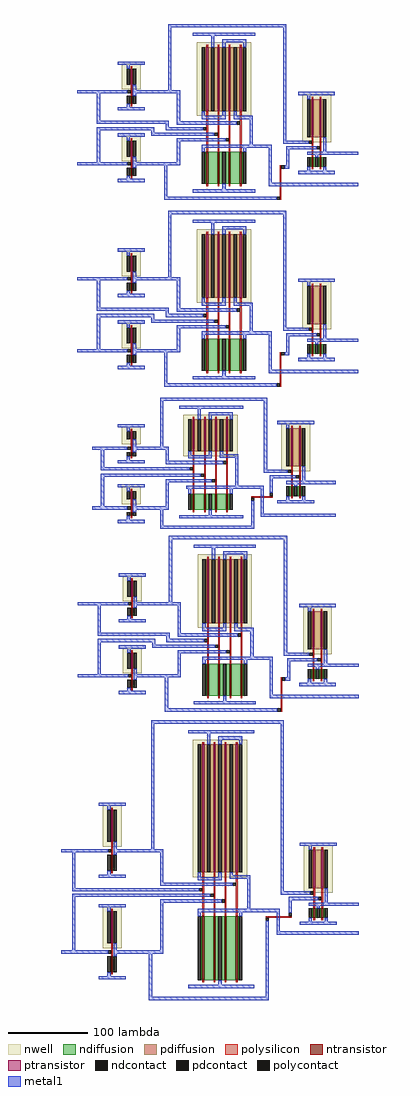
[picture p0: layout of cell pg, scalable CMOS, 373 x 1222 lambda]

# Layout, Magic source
magic
tech scmos
use pgchain1  pgchain1_0
transform 1 0 138 0 1 9
box -138 -9 214 211
use pgchain1  pgchain1_1
transform 1 0 138 0 1 -225
box -138 -9 214 211
use pgchain2  pgchain2_0
transform 1 0 125 0 1 -399
box -106 -13 199 151
use pgchain1  pgchain1_2
transform 1 0 139 0 1 -632
box -138 -9 214 211
use pgchain3  pgchain3_0
transform 1 0 129 0 1 -987
box -149 -15 224 335
<< end >>

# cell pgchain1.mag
magic
tech scmos
<< polysilicon >>
rect 116 -9 118 34
<< polycontact >>
rect 112 -9 116 -5
rect 118 30 122 34
<< metal1 >>
rect -24 207 124 211
rect -24 128 -20 207
rect -138 124 -87 128
rect -53 124 -9 128
rect -113 90 -109 124
rect -113 86 -23 90
rect -27 82 -23 86
rect -13 89 -9 124
rect -13 85 0 89
rect -113 78 -41 82
rect -27 78 0 82
rect -113 38 -109 78
rect -45 75 -41 78
rect -45 71 0 75
rect -13 64 0 68
rect 120 65 124 207
rect -13 38 -9 64
rect 120 61 138 65
rect 85 56 106 60
rect -138 34 -87 38
rect -53 34 -9 38
rect -29 -5 -25 34
rect 102 12 106 56
rect 124 54 138 58
rect 124 34 128 54
rect 183 47 214 51
rect 122 30 128 34
rect 102 8 214 12
rect -29 -9 112 -5
use inv_W  inv_W_0
transform 1 0 -72 0 1 133
box -15 -30 19 31
use inv_W  inv_W_1
transform 1 0 -72 0 1 43
box -15 -30 19 31
use xor_2W  xor_2W_0
transform 1 0 34 0 1 111
box -34 -111 51 89
use and  and_0
transform 1 0 169 0 1 71
box -31 -48 16 55
<< end >>

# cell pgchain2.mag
magic
tech scmos
<< polysilicon >>
rect 93 26 120 28
<< polycontact >>
rect 116 28 120 32
rect 93 22 97 26
<< metal1 >>
rect -21 147 113 151
rect -21 90 -17 147
rect -106 86 -74 90
rect -40 86 -10 90
rect -95 64 -91 86
rect -14 72 -10 86
rect -14 68 0 72
rect -95 60 0 64
rect 109 61 113 147
rect 109 57 125 61
rect -95 52 0 56
rect -95 15 -91 52
rect 116 50 125 54
rect -14 45 0 49
rect -14 15 -10 45
rect 82 37 109 41
rect -106 11 -74 15
rect -40 11 -10 15
rect -21 -9 -17 11
rect 93 -9 97 22
rect 105 6 109 37
rect 116 32 120 50
rect 170 43 199 47
rect 105 2 199 6
rect -21 -13 97 -9
use inv_W_2  inv_W_2_0
transform 1 0 -57 0 1 108
box -17 -39 17 10
use inv_W_2  inv_W_2_1
transform 1 0 -57 0 1 33
box -17 -39 17 10
use xor_W  xor_W_0
transform 1 0 27 0 1 89
box -27 -89 56 52
use and  and_0
transform 1 0 156 0 1 67
box -31 -48 16 55
<< end >>

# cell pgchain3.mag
magic
tech scmos
<< polysilicon >>
rect 107 88 140 90
<< polycontact >>
rect 136 90 140 94
rect 107 84 111 88
<< metal1 >>
rect -36 331 130 335
rect -36 174 -32 331
rect -149 170 -102 174
rect -68 170 -21 174
rect -135 125 -131 170
rect -25 132 -21 170
rect -25 128 0 132
rect -135 121 0 125
rect 126 121 130 331
rect -135 114 0 118
rect 126 117 149 121
rect -135 47 -131 114
rect -25 107 0 111
rect 136 110 149 114
rect -25 47 -21 107
rect 93 95 125 99
rect -149 43 -102 47
rect -68 43 -21 47
rect -39 -11 -35 43
rect 107 -11 111 84
rect 121 71 125 95
rect 136 94 140 110
rect 194 103 224 107
rect 121 67 224 71
rect -39 -15 111 -11
use inv_2W  inv_2W_0
transform 1 0 -81 0 1 183
box -21 -45 13 49
use inv_2W  inv_2W_1
transform 1 0 -81 0 1 56
box -21 -45 13 49
use xor_4W  xor_4W_0
transform 1 0 37 0 1 151
box -37 -151 56 172
use and  and_0
transform 1 0 180 0 1 127
box -31 -48 16 55
<< end >>

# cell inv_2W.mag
magic
tech scmos
<< nwell >>
rect -16 -6 8 46
<< ntransistor >>
rect -5 -36 -3 -16
<< ptransistor >>
rect -5 0 -3 40
<< ndiffusion >>
rect -6 -36 -5 -16
rect -3 -36 -2 -16
<< pdiffusion >>
rect -6 0 -5 40
rect -3 0 -2 40
<< ndcontact >>
rect -10 -36 -6 -16
rect -2 -36 2 -16
<< pdcontact >>
rect -10 0 -6 40
rect -2 0 2 40
<< polysilicon >>
rect -5 40 -3 43
rect -5 -16 -3 0
rect -5 -39 -3 -36
<< polycontact >>
rect -9 -13 -5 -9
<< metal1 >>
rect -21 45 13 49
rect -10 40 -6 45
rect -2 -9 2 0
rect -21 -13 -9 -9
rect -2 -13 13 -9
rect -2 -16 2 -13
rect -10 -41 -6 -36
rect -21 -45 13 -41
<< labels >>
rlabel metal1 -21 45 13 49 5 vdd
rlabel metal1 -21 -45 13 -41 1 gnd
rlabel metal1 -21 -13 -9 -9 1 input
rlabel metal1 -2 -13 13 -9 1 output
<< end >>

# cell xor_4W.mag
magic
tech scmos
<< nwell >>
rect -21 -12 47 160
<< ntransistor >>
rect -9 -141 -7 -61
rect 5 -141 7 -61
rect 19 -141 21 -61
rect 33 -141 35 -61
<< ptransistor >>
rect -9 -6 -7 154
rect 5 -6 7 154
rect 19 -6 21 154
rect 33 -6 35 154
<< ndiffusion >>
rect -11 -141 -9 -61
rect -7 -141 5 -61
rect 7 -141 11 -61
rect 15 -141 19 -61
rect 21 -141 33 -61
rect 35 -141 37 -61
<< pdiffusion >>
rect -11 -6 -9 154
rect -7 -6 -3 154
rect 1 -6 5 154
rect 7 -6 11 154
rect 15 -6 19 154
rect 21 -6 25 154
rect 29 -6 33 154
rect 35 -6 37 154
<< ndcontact >>
rect -15 -141 -11 -61
rect 11 -141 15 -61
rect 37 -141 41 -61
<< pdcontact >>
rect -15 -6 -11 154
rect -3 -6 1 154
rect 11 -6 15 154
rect 25 -6 29 154
rect 37 -6 41 154
<< polysilicon >>
rect -9 154 -7 157
rect 5 154 7 157
rect 19 154 21 157
rect 33 154 35 157
rect -9 -61 -7 -6
rect 5 -61 7 -6
rect 19 -61 21 -6
rect 33 -61 35 -6
rect -9 -144 -7 -141
rect 5 -144 7 -141
rect 19 -144 21 -141
rect 33 -144 35 -141
<< polycontact >>
rect -13 -30 -9 -26
rect 1 -37 5 -33
rect 15 -44 19 -40
rect 29 -23 33 -19
<< metal1 >>
rect -27 168 56 172
rect -3 154 1 168
rect 11 160 41 164
rect 11 154 15 160
rect 37 154 41 160
rect -15 -12 -11 -6
rect 11 -12 15 -6
rect -15 -16 15 -12
rect 25 -10 29 -6
rect 25 -14 51 -10
rect -37 -23 29 -19
rect -37 -30 -13 -26
rect -37 -37 1 -33
rect -37 -44 15 -40
rect 47 -52 51 -14
rect -15 -56 56 -52
rect -15 -61 -11 -56
rect 37 -61 41 -56
rect 11 -147 15 -141
rect -27 -151 56 -147
<< labels >>
rlabel metal1 -27 168 56 172 5 vdd
rlabel metal1 -27 -151 56 -147 1 gnd
rlabel metal1 -15 -56 56 -52 1 out
rlabel metal1 -37 -23 33 -19 1 in_a_bar
rlabel metal1 -37 -30 -9 -26 1 in_a
rlabel metal1 -37 -37 5 -33 1 in_b
rlabel metal1 -37 -44 19 -40 1 in_b_bar
<< end >>

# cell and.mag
magic
tech scmos
<< nwell >>
rect -25 -8 11 52
<< ntransistor >>
rect -13 -39 -11 -27
rect -3 -39 -1 -27
<< ptransistor >>
rect -13 -2 -11 46
rect -3 -2 -1 46
<< ndiffusion >>
rect -15 -39 -13 -27
rect -11 -39 -9 -27
rect -5 -39 -3 -27
rect -1 -39 1 -27
<< pdiffusion >>
rect -15 -2 -13 46
rect -11 -2 -3 46
rect -1 -2 1 46
<< ndcontact >>
rect -19 -39 -15 -27
rect -9 -39 -5 -27
rect 1 -39 5 -27
<< pdcontact >>
rect -19 -2 -15 46
rect 1 -2 5 46
<< polysilicon >>
rect -13 46 -11 49
rect -3 46 -1 49
rect -13 -27 -11 -2
rect -3 -27 -1 -2
rect -13 -42 -11 -39
rect -3 -42 -1 -39
<< polycontact >>
rect -17 -10 -13 -6
rect -7 -17 -3 -13
<< metal1 >>
rect -30 51 16 55
rect -19 46 -15 51
rect -31 -10 -17 -6
rect -31 -17 -7 -13
rect 1 -20 5 -2
rect -19 -24 14 -20
rect -9 -27 -5 -24
rect -19 -44 -15 -39
rect 1 -44 5 -39
rect -30 -48 16 -44
<< labels >>
rlabel metal1 -31 -10 -17 -6 1 in1
rlabel metal1 -31 -17 -7 -13 1 in2
rlabel metal1 -19 -24 14 -20 1 out
rlabel metal1 -30 51 16 55 5 vdd
rlabel metal1 -30 -48 16 -44 1 gnd
<< end >>

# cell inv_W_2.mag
magic
tech scmos
<< nwell >>
rect -12 -15 12 7
<< ntransistor >>
rect -1 -30 1 -25
<< ptransistor >>
rect -1 -9 1 1
<< ndiffusion >>
rect -2 -30 -1 -25
rect 1 -30 2 -25
<< pdiffusion >>
rect -2 -9 -1 1
rect 1 -9 2 1
<< ndcontact >>
rect -6 -30 -2 -25
rect 2 -30 6 -25
<< pdcontact >>
rect -6 -9 -2 1
rect 2 -9 6 1
<< polysilicon >>
rect -1 1 1 4
rect -1 -25 1 -9
rect -1 -33 1 -30
<< polycontact >>
rect -5 -22 -1 -18
<< metal1 >>
rect -17 6 17 10
rect -6 1 -2 6
rect 2 -18 6 -9
rect -17 -22 -5 -18
rect 2 -22 17 -18
rect 2 -25 6 -22
rect -6 -35 -2 -30
rect -17 -39 17 -35
<< labels >>
rlabel metal1 -17 6 17 10 5 vdd
rlabel metal1 -17 -39 17 -35 1 gnd
rlabel metal1 -17 -22 -5 -18 1 input
rlabel metal1 2 -22 17 -18 1 output
<< end >>

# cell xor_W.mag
magic
tech scmos
<< nwell >>
rect -19 -11 49 41
<< ntransistor >>
rect -7 -78 -5 -58
rect 7 -78 9 -58
rect 21 -78 23 -58
rect 35 -78 37 -58
<< ptransistor >>
rect -7 -5 -5 35
rect 7 -5 9 35
rect 21 -5 23 35
rect 35 -5 37 35
<< ndiffusion >>
rect -9 -78 -7 -58
rect -5 -78 7 -58
rect 9 -78 13 -58
rect 17 -78 21 -58
rect 23 -78 35 -58
rect 37 -78 39 -58
<< pdiffusion >>
rect -9 -5 -7 35
rect -5 -5 -1 35
rect 3 -5 7 35
rect 9 -5 13 35
rect 17 -5 21 35
rect 23 -5 27 35
rect 31 -5 35 35
rect 37 -5 39 35
<< ndcontact >>
rect -13 -78 -9 -58
rect 13 -78 17 -58
rect 39 -78 43 -58
<< pdcontact >>
rect -13 -5 -9 35
rect -1 -5 3 35
rect 13 -5 17 35
rect 27 -5 31 35
rect 39 -5 43 35
<< polysilicon >>
rect -7 35 -5 38
rect 7 35 9 38
rect 21 35 23 38
rect 35 35 37 38
rect -7 -58 -5 -5
rect 7 -58 9 -5
rect 21 -58 23 -5
rect 35 -58 37 -5
rect -7 -81 -5 -78
rect 7 -81 9 -78
rect 21 -81 23 -78
rect 35 -81 37 -78
<< polycontact >>
rect -11 -29 -7 -25
rect 3 -37 7 -33
rect 17 -44 21 -40
rect 31 -21 35 -17
<< metal1 >>
rect -24 48 56 52
rect -1 35 3 48
rect 13 40 43 44
rect 13 35 17 40
rect 39 35 43 40
rect -13 -10 -9 -5
rect 13 -10 17 -5
rect -13 -14 17 -10
rect 27 -9 31 -5
rect 27 -13 50 -9
rect -27 -21 31 -17
rect -27 -29 -11 -25
rect -27 -37 3 -33
rect -27 -44 17 -40
rect 46 -48 50 -13
rect -15 -52 55 -48
rect -13 -58 -9 -52
rect 39 -58 43 -52
rect 13 -85 17 -78
rect -24 -89 56 -85
<< labels >>
rlabel metal1 -24 48 56 52 5 vdd
rlabel metal1 -24 -89 56 -85 1 gnd
rlabel metal1 -15 -52 55 -48 1 out
rlabel metal1 -27 -21 31 -17 1 in_a_bar
rlabel metal1 -27 -29 -11 -25 1 in_a
rlabel metal1 -27 -37 3 -33 1 in_b
rlabel metal1 -27 -44 17 -40 1 in_b_bar
<< end >>

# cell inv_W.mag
magic
tech scmos
<< nwell >>
rect -10 -4 14 28
<< ntransistor >>
rect 1 -22 3 -12
<< ptransistor >>
rect 1 2 3 22
<< ndiffusion >>
rect 0 -22 1 -12
rect 3 -22 4 -12
<< pdiffusion >>
rect 0 2 1 22
rect 3 2 4 22
<< ndcontact >>
rect -4 -22 0 -12
rect 4 -22 8 -12
<< pdcontact >>
rect -4 2 0 22
rect 4 2 8 22
<< polysilicon >>
rect 1 22 3 25
rect 1 -12 3 2
rect 1 -25 3 -22
<< polycontact >>
rect -3 -9 1 -5
<< metal1 >>
rect -15 27 19 31
rect -4 22 0 27
rect 4 -5 8 2
rect -15 -9 -3 -5
rect 4 -9 19 -5
rect 4 -12 8 -9
rect -4 -26 0 -22
rect -15 -30 19 -26
<< labels >>
rlabel metal1 -15 27 19 31 5 vdd
rlabel metal1 -15 -30 19 -26 1 gnd
rlabel metal1 -15 -9 -3 -5 1 input
rlabel metal1 4 -9 19 -5 1 output
<< end >>

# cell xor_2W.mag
magic
tech scmos
<< nwell >>
rect -22 -15 46 77
<< ntransistor >>
rect -10 -100 -8 -60
rect 4 -100 6 -60
rect 18 -100 20 -60
rect 32 -100 34 -60
<< ptransistor >>
rect -10 -9 -8 71
rect 4 -9 6 71
rect 18 -9 20 71
rect 32 -9 34 71
<< ndiffusion >>
rect -12 -100 -10 -60
rect -8 -100 4 -60
rect 6 -100 10 -60
rect 14 -100 18 -60
rect 20 -100 32 -60
rect 34 -100 36 -60
<< pdiffusion >>
rect -12 -9 -10 71
rect -8 -9 -4 71
rect 0 -9 4 71
rect 6 -9 10 71
rect 14 -9 18 71
rect 20 -9 24 71
rect 28 -9 32 71
rect 34 -9 36 71
<< ndcontact >>
rect -16 -100 -12 -60
rect 10 -100 14 -60
rect 36 -100 40 -60
<< pdcontact >>
rect -16 -9 -12 71
rect -4 -9 0 71
rect 10 -9 14 71
rect 24 -9 28 71
rect 36 -9 40 71
<< polysilicon >>
rect -10 71 -8 74
rect 4 71 6 74
rect 18 71 20 74
rect 32 71 34 74
rect -10 -60 -8 -9
rect 4 -60 6 -9
rect 18 -60 20 -9
rect 32 -60 34 -9
rect -10 -103 -8 -100
rect 4 -103 6 -100
rect 18 -103 20 -100
rect 32 -103 34 -100
<< polycontact >>
rect -14 -33 -10 -29
rect 0 -40 4 -36
rect 14 -47 18 -43
rect 28 -26 32 -22
<< metal1 >>
rect -27 85 51 89
rect -4 71 0 85
rect 10 77 40 81
rect 10 71 14 77
rect 36 71 40 77
rect -16 -15 -12 -9
rect 10 -15 14 -9
rect -16 -19 14 -15
rect 24 -15 28 -9
rect 24 -19 48 -15
rect -34 -26 28 -22
rect -34 -33 -14 -29
rect -34 -40 0 -36
rect -34 -47 14 -43
rect 44 -51 48 -19
rect -16 -55 51 -51
rect -16 -60 -12 -55
rect 36 -60 40 -55
rect 10 -107 14 -100
rect -27 -111 51 -107
<< labels >>
rlabel metal1 -27 -111 51 -107 1 gnd
rlabel metal1 -27 85 51 89 5 vdd
rlabel metal1 -16 -55 51 -51 1 out
rlabel metal1 -34 -26 28 -22 1 in_a_bar
rlabel metal1 -34 -33 -14 -29 1 in_a
rlabel metal1 -34 -40 0 -36 1 in_b
rlabel metal1 -34 -47 14 -43 1 in_b_bar
<< end >>
